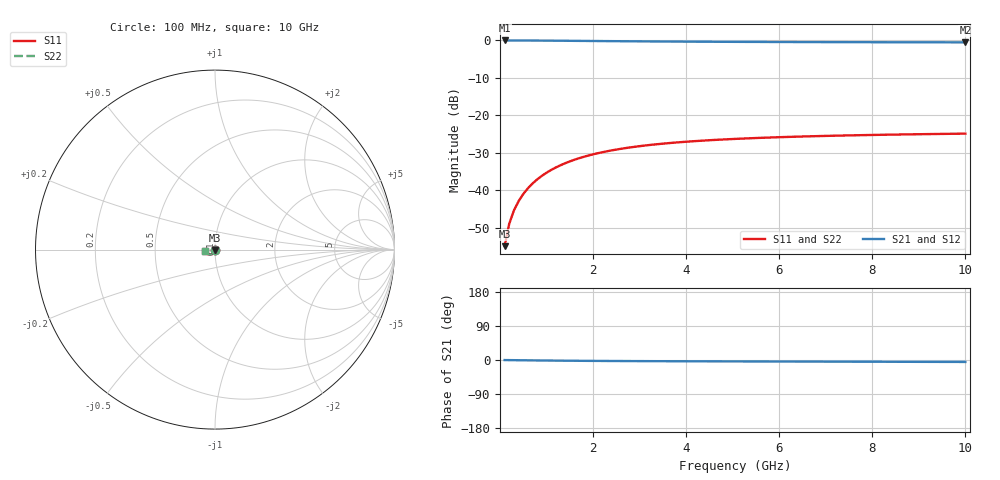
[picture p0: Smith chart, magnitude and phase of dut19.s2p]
! Touchstone file exported from HFSS 2024.1.0
!  File:  C:/UserFiles/LocalFiles/RDL_TSV_Batchsim/temp_TSV1_19_1779368923.aedt
!  Generated:  09:14:08 PM May 21, 2026
!  Design:  TSV1
!  Project:  temp_TSV1_19_1779368923
!  Setup:  Setup1
!  Solution:  Sweep
! Variables:
!  dtsv = 14.71um
!  hbump = 3um
!  htsv = 78.07um
!  lrdl = 252.1521522um
!  p = 40
!  p1 = 56.25um
!  t = 500um
!  trdl = 3um
!  wrdl = 24.89489489um
# GHz S MA R 50.000000
! Terminal data exported
! Port[1] = TSV22_T1
! Port[2] = TSV22_T2
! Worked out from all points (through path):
!   100 points, 100 MHz to 10 GHz, reference 50 ohm
!   highest |S21| = 0.00 dB at 100 MHz (marker M1); lowest = -0.5 dB at 10 GHz (marker M2)
!   lowest |S11| = -55.0 dB at 100 MHz (marker M3), VSWR 1.00, Z = 50 - j0.179 ohm
!   |S11| at or under -10 dB: start of sweep to end of sweep
!   |S22| runs from -55.0 to -24.9 dB; largest |S21 - S12| = 4.2e-15
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0.1  0.001788 -89.4  0.9999 -0.2  0.9999 -0.2  0.001788 -89.4
! Gamma 0 0 0 0
! Port Impedance 50 0 50 0
0.2  0.003575 -92.4  0.9997 -0.3  0.9997 -0.3  0.003575 -92.4
0.3  0.005358 -94.7  0.9993 -0.4  0.9993 -0.4  0.005358 -94.7
0.4  0.007128 -96.8  0.9989 -0.6  0.9989 -0.6  0.007128 -96.8
0.5  0.008876 -98.9  0.9984 -0.7  0.9984 -0.7  0.008876 -98.9
0.6  0.0106 -100.8  0.9977 -0.9  0.9977 -0.9  0.0106 -100.8
0.7  0.01228 -102.8  0.997 -1.0  0.997 -1.0  0.01228 -102.8
0.8  0.01393 -104.6  0.9962 -1.1  0.9962 -1.1  0.01393 -104.6
0.9  0.01554 -106.5  0.9953 -1.3  0.9953 -1.3  0.01554 -106.5
1.1  0.01863 -110.0  0.9934 -1.5  0.9934 -1.5  0.01863 -110.0
1.4  0.0229 -115.1  0.9902 -1.8  0.9902 -1.8  0.0229 -115.1
1.6  0.0255 -118.2  0.9879 -2.0  0.9879 -2.0  0.0255 -118.2
1.8  0.0279 -121.1  0.9856 -2.2  0.9856 -2.2  0.0279 -121.1
2.1  0.03115 -125.2  0.9821 -2.4  0.9821 -2.4  0.03115 -125.2
2.5  0.03488 -130.1  0.9777 -2.7  0.9777 -2.7  0.03488 -130.1
2.9  0.03802 -134.4  0.9736 -2.9  0.9736 -2.9  0.03802 -134.4
3.4  0.04127 -139.1  0.969 -3.1  0.969 -3.1  0.04127 -139.1
4.2  0.04527 -145.4  0.9629 -3.4  0.9629 -3.4  0.04527 -145.4
5.1  0.04858 -151.1  0.9576 -3.7  0.9576 -3.7  0.04858 -151.1
6.7  0.05253 -158.9  0.9509 -4.2  0.9509 -4.2  0.05253 -158.9
8.4  0.05521 -165.3  0.9463 -4.7  0.9463 -4.7  0.05521 -165.3
10  0.05694 -170.1  0.9433 -5.2  0.9433 -5.2  0.05694 -170.1
